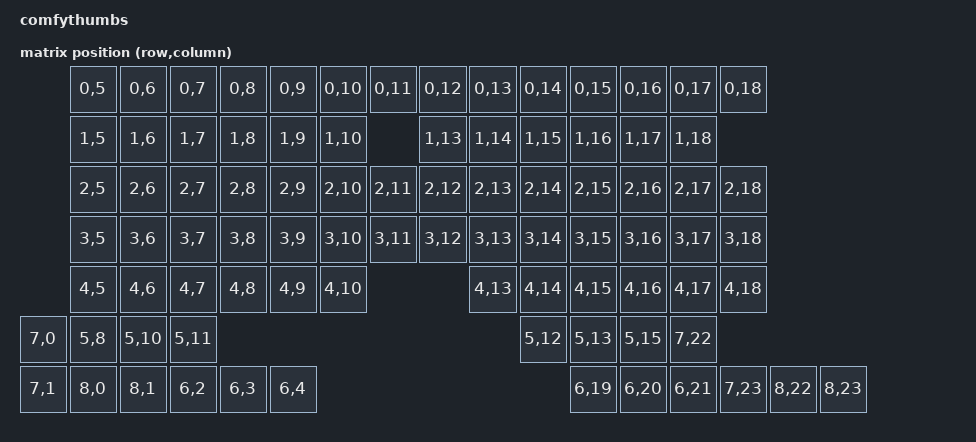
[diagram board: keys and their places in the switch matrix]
/*
*
* Copyright (c) 2021 Malakai King
* SPDX-License-Identifier: MIT
*
*/

/dts-v1/;
#include <nordic/nrf52840_qiaa.dtsi>

#include <dt-bindings/zmk/matrix-transform.h>

/ {
	model = "comfythumbs";
	compatible = "comfythumbs";

	chosen {
		zephyr,code-partition = &code_partition;
		zephyr,sram = &sram0;
		zephyr,flash = &flash0;
		zmk,kscan = &kscan0;
		zmk,matrix_transform = &default_transform;
	};

	default_transform: keymap_transform_0 {
		compatible = "zmk,matrix-transform";
		columns = <24>;
		rows = <9>;

					map = <
								RC(0,5)	RC(0,6) RC(0,7) RC(0,8) RC(0,9) RC(0,10) RC(0,11) RC(0,12) RC(0,13) RC(0,14) RC(0,15) RC(0,16) RC(0,17) RC(0,18)
								RC(1,5)	RC(1,6) RC(1,7) RC(1,8) RC(1,9) RC(1,10)		   RC(1,13) RC(1,14) RC(1,15) RC(1,16) RC(1,17) RC(1,18)
								RC(2,5)	RC(2,6) RC(2,7) RC(2,8) RC(2,9) RC(2,10) RC(2,11) RC(2,12) RC(2,13) RC(2,14) RC(2,15) RC(2,16) RC(2,17) RC(2,18)
								RC(3,5)	RC(3,6) RC(3,7) RC(3,8) RC(3,9) RC(3,10) RC(3,11) RC(3,12) RC(3,13) RC(3,14) RC(3,15) RC(3,16) RC(3,17) RC(3,18)
								RC(4,5)	RC(4,6) RC(4,7) RC(4,8) RC(4,9) RC(4,10)                   RC(4,13) RC(4,14) RC(4,15) RC(4,16) RC(4,17) RC(4,18)
						RC(7,0)					RC(5,8)		RC(5,10) RC(5,11) RC(5,12) RC(5,13)          RC(5,15)						 RC(7,22)
					RC(7,1) RC(8,0) RC(8,1)					RC(6,2)  RC(6,3) RC(6,4)  RC(6,19) RC(6,20) RC(6,21)	      					RC(7,23) RC(8,22) RC(8,23)
		>;
	};
	vbatt {
		compatible = "zmk,battery-voltage-divider";
		label = "BATTERY";
		io-channels = <&adc 2>;
    output-ohms = <2000000>;
		full-ohms = <(2000000 + 806000)>;
	};
};


&adc {
	status = "okay";
};

&gpiote {
	status = "okay";
};

&gpio0 {
	status = "okay";
};

&gpio1 {
	status = "okay";
};

&usbd {
	status = "okay";
};

&flash0 {
	/*
	 * For more information, see:
	 * http://docs.zephyrproject.org/latest/devices/dts/flash_partitions.html
	 */
	partitions {
		compatible = "fixed-partitions";
		#address-cells = <1>;
		#size-cells = <1>;

		sd_partition: partition@0 {
			label = "mbr";
			reg = <0x00000000 0x00001000>;
		};
		code_partition: partition@1000 {
			label = "code_partition";
			reg = <0x00001000 0x000d3000>;
		};

		storage_partition: partition@d4000 {
			label = "storage";
			reg = <0x000d4000 0x00020000>;
		};

		boot_partition: partition@f4000 {
			label = "adafruit_boot";
			reg = <0x000f4000 0x0000c000>;
		};
	};
};
